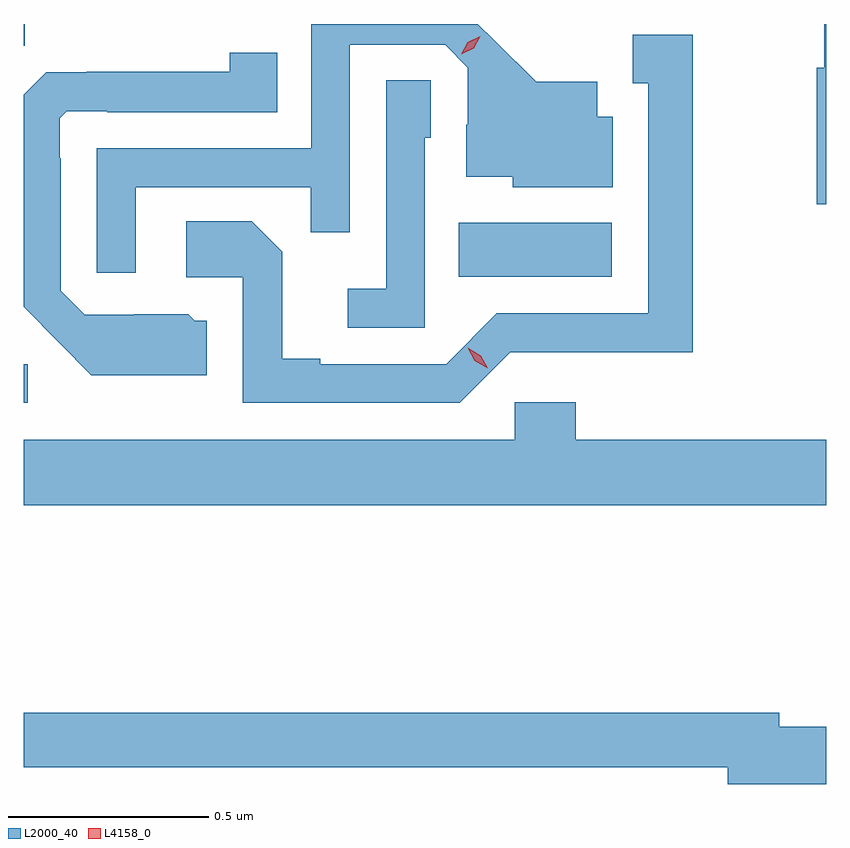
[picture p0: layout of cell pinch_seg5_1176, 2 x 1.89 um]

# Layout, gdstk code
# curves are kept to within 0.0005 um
import gdstk
lib = gdstk.Library(unit=1e-6, precision=1e-09)
def R(c, l, rs):  # rectangles x0, y0, x1, y1
    for r in rs: c.add(gdstk.rectangle(r[:2], r[2:], *l))
def P(c, l, *ps):  # polygons
    for p in ps: c.add(gdstk.Polygon(p, *l))
L2000_40 = (2000, 40)
L4158_0 = (4158, 0)

pinch_seg5_1176 = lib.new_cell('pinch_seg5_1176')
R(pinch_seg5_1176, L2000_40, [(773.202,846.36,773.212,846.456), (774.286,846.674,774.667,846.808), (773.202,847.249,773.205,847.303)])
P(pinch_seg5_1176, L2000_40, [(773.481,846.897),(773.917,846.897),(773.917,846.784),(774.015,846.784),(774.015,847.251),(774.252,847.251),(774.309,847.194),(774.309,847.052),(774.305,847.052),(774.305,846.923),(774.42,846.923),(774.42,846.896),(774.67,846.896),(774.67,847.072),(774.631,847.072),(774.631,847.159),(774.479,847.159),(774.333,847.303),(773.919,847.303),(773.919,846.993),(773.385,846.993),(773.385,846.684),(773.481,846.684)],
  [(775.202,847.303),(775.196,847.303),(775.196,847.194),(775.178,847.194),(775.178,846.854),(775.202,846.854)],
  [(774.414,846.486),(774.636,846.486),(774.636,846.485),(774.869,846.485),(774.869,847.276),(774.719,847.276),(774.719,847.155),(774.758,847.155),(774.758,846.582),(774.381,846.582),(774.255,846.456),(773.941,846.456),(773.941,846.469),(773.847,846.469),(773.847,846.736),(773.771,846.812),(773.607,846.812),(773.607,846.672),(773.748,846.672),(773.748,846.36),(774.288,846.36)],
  [(773.659,846.564),(773.628,846.564),(773.612,846.58),(773.478,846.58),(773.478,846.579),(773.355,846.579),(773.295,846.639),(773.295,846.968),(773.292,846.968),(773.292,847.068),(773.31,847.086),(773.41,847.086),(773.41,847.083),(773.834,847.083),(773.834,847.231),(773.716,847.231),(773.716,847.184),(773.359,847.184),(773.359,847.183),(773.258,847.183),(773.202,847.127),(773.202,846.599),(773.371,846.428),(773.659,846.428)],
  [(774.201,847.02),(774.216,847.02),(774.216,847.163),(774.105,847.163),(774.105,846.643),(774.009,846.643),(774.009,846.546),(774.201,846.546)],
  [(775.202,846.268),(774.578,846.268),(774.578,846.361),(774.426,846.361),(774.426,846.268),(773.202,846.268),(773.202,846.104),(775.202,846.104)],
  [(775.202,845.552),(775.084,845.552),(775.084,845.588),(773.202,845.588),(773.202,845.452),(774.956,845.452),(774.956,845.41),(775.202,845.41)])
P(pinch_seg5_1176, L4158_0, [(774.358,846.445),(774.326,846.464),(774.309,846.496),(774.309,846.497),(774.309,846.497),(774.341,846.477),(774.358,846.445),(774.358,846.445)],
  [(774.292,847.228),(774.292,847.228),(774.309,847.258),(774.34,847.273),(774.34,847.273),(774.34,847.272),(774.323,847.243),(774.292,847.228)])

lib.write_gds('pinch_seg5_1176.gds')
